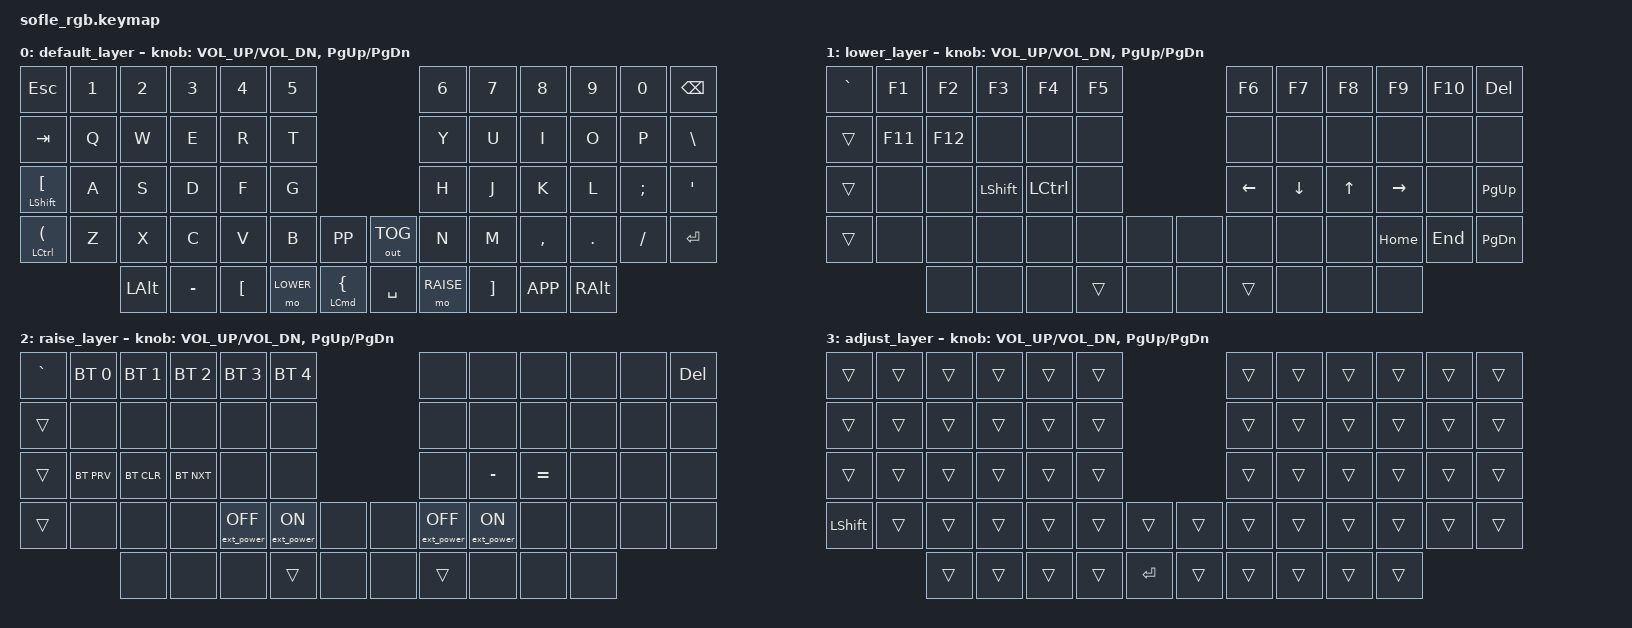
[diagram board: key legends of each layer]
#include <behaviors.dtsi>
#include <dt-bindings/zmk/keys.h>
#include <dt-bindings/zmk/bt.h>
#include <dt-bindings/zmk/outputs.h>
#include <dt-bindings/zmk/ext_power.h>

#define DEFAULT 0
#define LOWER 1
#define RAISE 2
#define ADJUST 3

/ {
  conditional_layers {
    compatible = "zmk,conditional-layers";
    tri_layer {
      if-layers = <LOWER RAISE>;
      then-layer = <ADJUST>;
    };
  };

  keymap {
    compatible = "zmk,keymap";

    default_layer {
      bindings = <
        &kp ESC         &kp N1   &kp N2    &kp N3    &kp N4   &kp N5                               &kp N6    &kp N7   &kp N8    &kp N9  &kp N0    &kp BACKSPACE
        &kp TAB         &kp Q    &kp W     &kp E     &kp R    &kp T                                &kp Y     &kp U    &kp I     &kp O   &kp P     &kp BACKSLASH
        &mt LSHIFT LBKT &kp A    &kp S     &kp D     &kp F    &kp G                                &kp H     &kp J    &kp K     &kp L   &kp SEMI  &kp SINGLE_QUOTE
        &mt LCTRL  LPAR &kp Z    &kp X     &kp C     &kp V    &kp B     &kp K_PP      &out OUT_TOG &kp N     &kp M    &kp COMMA &kp DOT &kp SLASH &kp ENTER
                                 &kp LALT  &kp MINUS &kp LBKT &mo LOWER &mt LCMD LBRC &kp SPACE    &mo RAISE &kp RBKT &kp K_APP &kp RALT
      >;

      sensor-bindings = <&inc_dec_kp C_VOL_UP C_VOL_DN &inc_dec_kp PG_UP PG_DN>;
    };

    lower_layer {
      bindings = <
        &kp GRAVE &kp F1  &kp F2  &kp F3      &kp F4    &kp F5             &kp F6   &kp F7   &kp F8   &kp F9    &kp F10 &kp DELETE
        &trans    &kp F11 &kp F12 &none       &none     &none              &none    &none    &none    &none     &none   &none
        &trans    &none   &none   &kp LSHIFT  &kp LCTRL &none              &kp LEFT &kp DOWN &kp UP   &kp RIGHT &none   &kp PG_UP
        &trans    &none   &none   &none       &none     &none  &none &none &none    &none    &none    &kp HOME  &kp END &kp PG_DN
                          &none   &none       &none     &trans &none &none &trans   &none    &none    &none
      >;

      sensor-bindings = <&inc_dec_kp C_VOL_UP C_VOL_DN &inc_dec_kp PG_UP PG_DN>;
    };

    raise_layer {
      bindings = <
        &kp GRAVE &bt BT_SEL 0 &bt BT_SEL 1 &bt BT_SEL 2 &bt BT_SEL 3      &bt BT_SEL 4                 &none             &none            &none     &none  &none &kp DELETE
        &trans    &none        &none        &none        &none             &none                        &none             &none            &none     &none  &none &none
        &trans    &bt BT_PRV   &bt BT_CLR   &bt BT_NXT   &none             &none                        &none             &kp MINUS        &kp EQUAL &none  &none &none
        &trans    &none        &none        &none        &ext_power EP_OFF &ext_power EP_ON &none &none &ext_power EP_OFF &ext_power EP_ON &none     &none  &none &none
                               &none        &none        &none             &trans           &none &none &trans            &none            &none     &none
      >;

      sensor-bindings = <&inc_dec_kp C_VOL_UP C_VOL_DN &inc_dec_kp PG_UP PG_DN>;
    };

    adjust_layer {
      bindings = <
        &trans     &trans &trans &trans &trans &trans                &trans &trans &trans &trans &trans &trans
        &trans     &trans &trans &trans &trans &trans                &trans &trans &trans &trans &trans &trans
        &trans     &trans &trans &trans &trans &trans                &trans &trans &trans &trans &trans &trans
        &kp LSHIFT &trans &trans &trans &trans &trans &trans  &trans &trans &trans &trans &trans &trans &trans
                          &trans &trans &trans &trans &kp RET &trans &trans &trans &trans &trans
      >;

      sensor-bindings = <&inc_dec_kp C_VOL_UP C_VOL_DN &inc_dec_kp PG_UP PG_DN>;
    };

  };
};

// layer sample
//         &none &none &none &none &none &none             &none &none &none &none &none &none
//         &none &none &none &none &none &none             &none &none &none &none &none &none
//         &none &none &none &none &none &none             &none &none &none &none &none &none
//         &none &none &none &none &none &none &none &none &none &none &none &none &none &none
//                     &none &none &none &none &none &none &none &none &none &none
